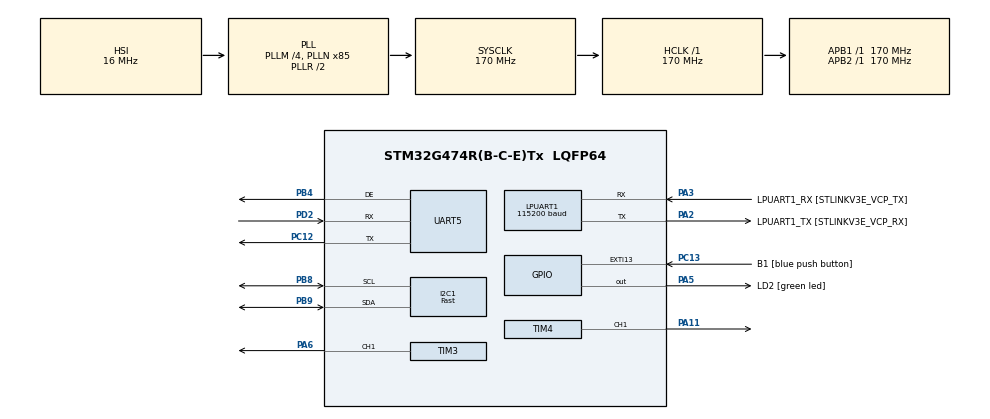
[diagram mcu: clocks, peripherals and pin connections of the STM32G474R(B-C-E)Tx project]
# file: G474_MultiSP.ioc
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I2C1.I2C_Speed_Mode=I2C_Fast
I2C1.Timing=0x10802D9B
LPUART1.BaudRate=115200
LPUART1.WordLength=UART_WORDLENGTH_8B
Mcu.Family=STM32G4
Mcu.Name=STM32G474R(B-C-E)Tx
Mcu.Package=LQFP64
NVIC.EXTI15_10_IRQn=true\:0\:0\:false\:false\:true\:true\:true\:true
NVIC.PriorityGroup=NVIC_PRIORITYGROUP_4
PA11.Signal=S_TIM4_CH1
PA13.GPIO_Label=T_SWDIO
PA13.Mode=Serial_Wire
PA13.Signal=SYS_JTMS-SWDIO
PA14.GPIO_Label=T_SWCLK
PA14.Mode=Serial_Wire
PA14.Signal=SYS_JTCK-SWCLK
PA2.GPIO_Label=LPUART1_TX [STLINKV3E_VCP_RX]
PA2.Mode=Asynchronous
PA2.Signal=LPUART1_TX
PA3.GPIO_Label=LPUART1_RX [STLINKV3E_VCP_TX]
PA3.Mode=Asynchronous
PA3.Signal=LPUART1_RX
PA5.GPIO_Label=LD2 [green led]
PA5.Signal=GPIO_Output
PA6.Signal=S_TIM3_CH1
PB3.GPIO_Label=T_SWO
PB3.Signal=SYS_JTDO-SWO
PB4.Mode=Hardware Flow Control (RS485)
PB4.Signal=UART5_DE
PB8-BOOT0.Mode=I2C
PB8-BOOT0.Signal=I2C1_SCL
PB9.Mode=I2C
PB9.Signal=I2C1_SDA
PC12.Mode=Asynchronous
PC12.Signal=UART5_TX
PC13.GPIO_Label=B1 [blue push button]
PC13.Signal=GPXTI13
PC14-OSC32_IN.Mode=LSE-External-Oscillator
PC14-OSC32_IN.Signal=RCC_OSC32_IN
PC15-OSC32_OUT.Mode=LSE-External-Oscillator
PC15-OSC32_OUT.Signal=RCC_OSC32_OUT
PD2.Mode=Asynchronous
PD2.Signal=UART5_RX
PF0-OSC_IN.Mode=HSE-External-Oscillator
PF0-OSC_IN.Signal=RCC_OSC_IN
PF1-OSC_OUT.Mode=HSE-External-Oscillator
PF1-OSC_OUT.Signal=RCC_OSC_OUT
ProjectManager.HeapSize=0x200
ProjectManager.StackSize=0x400
ProjectManager.TargetToolchain=STM32CubeIDE
RCC.ADC12Freq_Value=170000000
RCC.ADC345Freq_Value=170000000
RCC.AHBFreq_Value=170000000
RCC.APB1Freq_Value=170000000
RCC.APB1TimFreq_Value=170000000
RCC.APB2Freq_Value=170000000
RCC.APB2TimFreq_Value=170000000
RCC.CortexFreq_Value=170000000
RCC.EXTERNAL_CLOCK_VALUE=12288000
RCC.HCLKFreq_Value=170000000
RCC.HSE_VALUE=24000000
RCC.HSI48_VALUE=48000000
RCC.HSI_VALUE=16000000
RCC.PLLM=RCC_PLLM_DIV4
RCC.PLLN=85
RCC.RTCClockSelection=RCC_RTCCLKSOURCE_LSE
RCC.SYSCLKFreq_VALUE=170000000
RCC.SYSCLKSource=RCC_SYSCLKSOURCE_PLLCLK
RCC.USBFreq_Value=170000000
RCC.VCOOutputFreq_Value=340000000
SH.S_TIM3_CH1.0=TIM3_CH1,PWM Generation1 CH1
SH.S_TIM4_CH1.0=TIM4_CH1,PWM Generation1 CH1
TIM3.Channel-PWM\ Generation1\ CH1=TIM_CHANNEL_1
TIM3.PeriodNoDither=19999
TIM3.Prescaler=169
TIM3.PulseNoDither_1=2000
TIM4.Channel-PWM\ Generation1\ CH1=TIM_CHANNEL_1
TIM4.PeriodNoDither=9000
TIM4.Prescaler=16999
TIM4.PulseNoDither_1=3750
VP_SYS_VS_DBSignals.Mode=DisableDeadBatterySignals
board=NUCLEO-G474RE

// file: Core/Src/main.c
/* USER CODE BEGIN Header */
/**
  ******************************************************************************
  * @file           : main.c
  * @brief          : Main program body
  ******************************************************************************
  * @attention
  *
  * Copyright (c) 2024 STMicroelectronics.
  * All rights reserved.
  *
  * This software is licensed under terms that can be found in the LICENSE file
  * in the root directory of this software component.
  * If no LICENSE file comes with this software, it is provided AS-IS.
  *
  ******************************************************************************
  */
/* USER CODE END Header */
#include "main.h"

/* USER CODE BEGIN PD */
#define wrk_tim3
#define INA_wrk
/* USER CODE END PD */

I2C_HandleTypeDef hi2c1;

UART_HandleTypeDef hlpuart1;
UART_HandleTypeDef huart5;

TIM_HandleTypeDef htim3;
TIM_HandleTypeDef htim4;

/* USER CODE BEGIN PV */

struct _timestamp{
	uint32_t one;
	uint32_t ina;
}
timestamp;

struct _servoset{
	uint16_t pulso;
	uint8_t gain;
}
svo;

static enum{s_def, s_up, s_dn} slopstate;

//// ----------------- INA219 ----------------
INA219_Conf_Strc cofgra;
INA219_Read_Set inata;

/* USER CODE END PV */

void SystemClock_Config(void);
static void MX_GPIO_Init(void);
static void MX_LPUART1_UART_Init(void);
static void MX_TIM3_Init(void);
static void MX_UART5_Init(void);
static void MX_TIM4_Init(void);
static void MX_I2C1_Init(void);

int main(void)
{

  /* MCU Configuration--------------------------------------------------------*/

  /* Reset of all peripherals, Initializes the Flash interface and the Systick. */
  HAL_Init();

  /* Configure the system clock */
  SystemClock_Config();

  /* Initialize all configured peripherals */
  MX_GPIO_Init();
  MX_LPUART1_UART_Init();
  MX_TIM3_Init();
  MX_UART5_Init();
  MX_TIM4_Init();
  MX_I2C1_Init();
  /* USER CODE BEGIN 2 */
  HAL_TIM_Base_Start(&htim3);
  HAL_TIM_PWM_Start(&htim3, TIM_CHANNEL_1);
  //// MI PWM exam dummy
  HAL_TIM_PWM_Start(&htim4, TIM_CHANNEL_1);
  TIM4->CCR1 = 3749;
  TIM4->ARR = 8999;

  svo.gain = 20;

#ifdef INA_wrk
  //INA219_INIT_Calibrate(&hi2c1, INA219_ADDR_1); // custom set replace, Rshunt change
  //INA219_INIT_Calibrate_CC(&hi2c1, INA219_ADDR_1, 0.1, 10); // 0.01, 10
   cofgra.INA219CF.reset = 0;
   cofgra.INA219CF.BRNG = BRNG_FSR_16V;
   cofgra.INA219CF.PGA = PGA_GainD8_320mv;
   cofgra.INA219CF.BADC = ADCI_12bit_532uS;
   cofgra.INA219CF.SADC = ADCI_12bit_532uS;
   cofgra.INA219CF.Mode = INAM_ShuntBusV_Continuous;

   INA219_INIT(&hi2c1, INA219_ADDR_1, cofgra);
   INA219_Calibrate(&hi2c1, INA219_ADDR_1);
#endif

  /* USER CODE END 2 */

  /* Infinite loop */
  /* USER CODE BEGIN WHILE */
  while (1)
  {

	  if(HAL_GetTick() >= timestamp.one){
		  timestamp.one = HAL_GetTick() + 50;
		  HAL_GPIO_TogglePin(LD2_GPIO_Port,LD2_Pin);

#ifdef wrk_tim3
	  	 //// slope runner
			switch(slopstate){

			default:
			case s_def:
				svo.pulso = 500;
				// set_mot.cnt_slope++;
				slopstate = s_up;
				break;

			case s_up:

				//set_mot.slope++;
				svo.pulso += svo.gain;
				if(svo.pulso >= 2500){slopstate = s_dn;}
				break;
			case s_dn:

				//set_mot.slope--;
				svo.pulso -= svo.gain;
				if(svo.pulso <= 500){slopstate = s_def;}
				 break;
			}//// slope runner

	  //svo.pulso = TIM3->CNT;
			TIM3->CCR1 = svo.pulso;

#endif
	  } //// stamp wrk

	  if(HAL_GetTick() >= timestamp.ina){
		  timestamp.ina = HAL_GetTick() + 5;
#ifdef INA_wrk
		  inata.Bus_V   = INA219Read_BusV(&hi2c1, INA219_ADDR_1);
		  inata.CURRENT = INA219Read_Current(&hi2c1, INA219_ADDR_1);
		  inata.POWER   = INA219Read_Power(&hi2c1, INA219_ADDR_1);
		  inata.SHUNT_V = INA219Read_ShuntV(&hi2c1, INA219_ADDR_1);

#endif
	  }////stamp_INA

    /* USER CODE END WHILE */

  }
}

void SystemClock_Config(void)
{
  RCC_OscInitTypeDef RCC_OscInitStruct = {0};
  RCC_ClkInitTypeDef RCC_ClkInitStruct = {0};

  /** Configure the main internal regulator output voltage
  */
  HAL_PWREx_ControlVoltageScaling(PWR_REGULATOR_VOLTAGE_SCALE1_BOOST);

  /** Initializes the RCC Oscillators according to the specified parameters
  * in the RCC_OscInitTypeDef structure.
  */
  RCC_OscInitStruct.OscillatorType = RCC_OSCILLATORTYPE_HSI;
  RCC_OscInitStruct.HSIState = RCC_HSI_ON;
  RCC_OscInitStruct.HSICalibrationValue = RCC_HSICALIBRATION_DEFAULT;
  RCC_OscInitStruct.PLL.PLLState = RCC_PLL_ON;
  RCC_OscInitStruct.PLL.PLLSource = RCC_PLLSOURCE_HSI;
  RCC_OscInitStruct.PLL.PLLM = RCC_PLLM_DIV4;
  RCC_OscInitStruct.PLL.PLLN = 85;
  RCC_OscInitStruct.PLL.PLLP = RCC_PLLP_DIV2;
  RCC_OscInitStruct.PLL.PLLQ = RCC_PLLQ_DIV2;
  RCC_OscInitStruct.PLL.PLLR = RCC_PLLR_DIV2;
  if (HAL_RCC_OscConfig(&RCC_OscInitStruct) != HAL_OK)
  {
    Error_Handler();
  }

  /** Initializes the CPU, AHB and APB buses clocks
  */
  RCC_ClkInitStruct.ClockType = RCC_CLOCKTYPE_HCLK|RCC_CLOCKTYPE_SYSCLK
                              |RCC_CLOCKTYPE_PCLK1|RCC_CLOCKTYPE_PCLK2;
  RCC_ClkInitStruct.SYSCLKSource = RCC_SYSCLKSOURCE_PLLCLK;
  RCC_ClkInitStruct.AHBCLKDivider = RCC_SYSCLK_DIV1;
  RCC_ClkInitStruct.APB1CLKDivider = RCC_HCLK_DIV1;
  RCC_ClkInitStruct.APB2CLKDivider = RCC_HCLK_DIV1;

  if (HAL_RCC_ClockConfig(&RCC_ClkInitStruct, FLASH_LATENCY_4) != HAL_OK)
  {
    Error_Handler();
  }
}

static void MX_I2C1_Init(void)
{

  hi2c1.Instance = I2C1;
  hi2c1.Init.Timing = 0x10802D9B;
  hi2c1.Init.OwnAddress1 = 0;
  hi2c1.Init.AddressingMode = I2C_ADDRESSINGMODE_7BIT;
  hi2c1.Init.DualAddressMode = I2C_DUALADDRESS_DISABLE;
  hi2c1.Init.OwnAddress2 = 0;
  hi2c1.Init.OwnAddress2Masks = I2C_OA2_NOMASK;
  hi2c1.Init.GeneralCallMode = I2C_GENERALCALL_DISABLE;
  hi2c1.Init.NoStretchMode = I2C_NOSTRETCH_DISABLE;
  if (HAL_I2C_Init(&hi2c1) != HAL_OK)
  {
    Error_Handler();
  }

  /** Configure Analogue filter
  */
  if (HAL_I2CEx_ConfigAnalogFilter(&hi2c1, I2C_ANALOGFILTER_ENABLE) != HAL_OK)
  {
    Error_Handler();
  }

  /** Configure Digital filter
  */
  if (HAL_I2CEx_ConfigDigitalFilter(&hi2c1, 0) != HAL_OK)
  {
    Error_Handler();
  }

}

static void MX_LPUART1_UART_Init(void)
{

  hlpuart1.Instance = LPUART1;
  hlpuart1.Init.BaudRate = 115200;
  hlpuart1.Init.WordLength = UART_WORDLENGTH_8B;
  hlpuart1.Init.StopBits = UART_STOPBITS_1;
  hlpuart1.Init.Parity = UART_PARITY_NONE;
  hlpuart1.Init.Mode = UART_MODE_TX_RX;
  hlpuart1.Init.HwFlowCtl = UART_HWCONTROL_NONE;
  hlpuart1.Init.OneBitSampling = UART_ONE_BIT_SAMPLE_DISABLE;
  hlpuart1.Init.ClockPrescaler = UART_PRESCALER_DIV1;
  hlpuart1.AdvancedInit.AdvFeatureInit = UART_ADVFEATURE_NO_INIT;
  if (HAL_UART_Init(&hlpuart1) != HAL_OK)
  {
    Error_Handler();
  }
  if (HAL_UARTEx_SetTxFifoThreshold(&hlpuart1, UART_TXFIFO_THRESHOLD_1_8) != HAL_OK)
  {
    Error_Handler();
  }
  if (HAL_UARTEx_SetRxFifoThreshold(&hlpuart1, UART_RXFIFO_THRESHOLD_1_8) != HAL_OK)
  {
    Error_Handler();
  }
  if (HAL_UARTEx_DisableFifoMode(&hlpuart1) != HAL_OK)
  {
    Error_Handler();
  }

}

static void MX_UART5_Init(void)
{

  huart5.Instance = UART5;
  huart5.Init.BaudRate = 115200;
  huart5.Init.WordLength = UART_WORDLENGTH_8B;
  huart5.Init.StopBits = UART_STOPBITS_1;
  huart5.Init.Parity = UART_PARITY_NONE;
  huart5.Init.Mode = UART_MODE_TX_RX;
  huart5.Init.HwFlowCtl = UART_HWCONTROL_NONE;
  huart5.Init.OverSampling = UART_OVERSAMPLING_16;
  huart5.Init.OneBitSampling = UART_ONE_BIT_SAMPLE_DISABLE;
  huart5.Init.ClockPrescaler = UART_PRESCALER_DIV1;
  huart5.AdvancedInit.AdvFeatureInit = UART_ADVFEATURE_NO_INIT;
  if (HAL_RS485Ex_Init(&huart5, UART_DE_POLARITY_HIGH, 0, 0) != HAL_OK)
  {
    Error_Handler();
  }
  if (HAL_UARTEx_SetTxFifoThreshold(&huart5, UART_TXFIFO_THRESHOLD_1_8) != HAL_OK)
  {
    Error_Handler();
  }
  if (HAL_UARTEx_SetRxFifoThreshold(&huart5, UART_RXFIFO_THRESHOLD_1_8) != HAL_OK)
  {
    Error_Handler();
  }
  if (HAL_UARTEx_DisableFifoMode(&huart5) != HAL_OK)
  {
    Error_Handler();
  }

}

static void MX_TIM3_Init(void)
{

  TIM_MasterConfigTypeDef sMasterConfig = {0};
  TIM_OC_InitTypeDef sConfigOC = {0};

  htim3.Instance = TIM3;
  htim3.Init.Prescaler = 169;
  htim3.Init.CounterMode = TIM_COUNTERMODE_UP;
  htim3.Init.Period = 19999;
  htim3.Init.ClockDivision = TIM_CLOCKDIVISION_DIV1;
  htim3.Init.AutoReloadPreload = TIM_AUTORELOAD_PRELOAD_DISABLE;
  if (HAL_TIM_PWM_Init(&htim3) != HAL_OK)
  {
    Error_Handler();
  }
  sMasterConfig.MasterOutputTrigger = TIM_TRGO_RESET;
  sMasterConfig.MasterSlaveMode = TIM_MASTERSLAVEMODE_DISABLE;
  if (HAL_TIMEx_MasterConfigSynchronization(&htim3, &sMasterConfig) != HAL_OK)
  {
    Error_Handler();
  }
  sConfigOC.OCMode = TIM_OCMODE_PWM1;
  sConfigOC.Pulse = 2000;
  sConfigOC.OCPolarity = TIM_OCPOLARITY_HIGH;
  sConfigOC.OCFastMode = TIM_OCFAST_DISABLE;
  if (HAL_TIM_PWM_ConfigChannel(&htim3, &sConfigOC, TIM_CHANNEL_1) != HAL_OK)
  {
    Error_Handler();
  }
  HAL_TIM_MspPostInit(&htim3);

}

static void MX_TIM4_Init(void)
{

  TIM_MasterConfigTypeDef sMasterConfig = {0};
  TIM_OC_InitTypeDef sConfigOC = {0};

  htim4.Instance = TIM4;
  htim4.Init.Prescaler = 16999;
  htim4.Init.CounterMode = TIM_COUNTERMODE_UP;
  htim4.Init.Period = 9000;
  htim4.Init.ClockDivision = TIM_CLOCKDIVISION_DIV1;
  htim4.Init.AutoReloadPreload = TIM_AUTORELOAD_PRELOAD_DISABLE;
  if (HAL_TIM_PWM_Init(&htim4) != HAL_OK)
  {
    Error_Handler();
  }
  sMasterConfig.MasterOutputTrigger = TIM_TRGO_RESET;
  sMasterConfig.MasterSlaveMode = TIM_MASTERSLAVEMODE_DISABLE;
  if (HAL_TIMEx_MasterConfigSynchronization(&htim4, &sMasterConfig) != HAL_OK)
  {
    Error_Handler();
  }
  sConfigOC.OCMode = TIM_OCMODE_PWM1;
  sConfigOC.Pulse = 3750;
  sConfigOC.OCPolarity = TIM_OCPOLARITY_HIGH;
  sConfigOC.OCFastMode = TIM_OCFAST_DISABLE;
  if (HAL_TIM_PWM_ConfigChannel(&htim4, &sConfigOC, TIM_CHANNEL_1) != HAL_OK)
  {
    Error_Handler();
  }
  HAL_TIM_MspPostInit(&htim4);

}

static void MX_GPIO_Init(void)
{
  GPIO_InitTypeDef GPIO_InitStruct = {0};

  /* GPIO Ports Clock Enable */
  __HAL_RCC_GPIOC_CLK_ENABLE();
  __HAL_RCC_GPIOF_CLK_ENABLE();
  __HAL_RCC_GPIOA_CLK_ENABLE();
  __HAL_RCC_GPIOD_CLK_ENABLE();
  __HAL_RCC_GPIOB_CLK_ENABLE();

  /*Configure GPIO pin Output Level */
  HAL_GPIO_WritePin(LD2_GPIO_Port, LD2_Pin, GPIO_PIN_RESET);

  /*Configure GPIO pin : B1_Pin */
  GPIO_InitStruct.Pin = B1_Pin;
  GPIO_InitStruct.Mode = GPIO_MODE_IT_RISING;
  GPIO_InitStruct.Pull = GPIO_NOPULL;
  HAL_GPIO_Init(B1_GPIO_Port, &GPIO_InitStruct);

  /*Configure GPIO pin : LD2_Pin */
  GPIO_InitStruct.Pin = LD2_Pin;
  GPIO_InitStruct.Mode = GPIO_MODE_OUTPUT_PP;
  GPIO_InitStruct.Pull = GPIO_NOPULL;
  GPIO_InitStruct.Speed = GPIO_SPEED_FREQ_LOW;
  HAL_GPIO_Init(LD2_GPIO_Port, &GPIO_InitStruct);

  /* EXTI interrupt init*/
  HAL_NVIC_SetPriority(EXTI15_10_IRQn, 0, 0);
  HAL_NVIC_EnableIRQ(EXTI15_10_IRQn);

}

void Error_Handler(void)
{
  __disable_irq();
  while (1)
  {
  }
}
